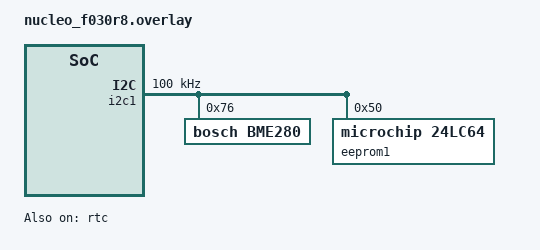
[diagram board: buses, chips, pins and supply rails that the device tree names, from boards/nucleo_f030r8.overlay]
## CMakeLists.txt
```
# SPDX-License-Identifier: Apache-2.0

cmake_minimum_required(VERSION 3.20.0)

find_package(Zephyr REQUIRED HINTS $ENV{ZEPHYR_BASE})
project(Databasesql)

target_sources(app PRIVATE
    src/Database.c
    src/BME280.c
)
```

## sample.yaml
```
sample:
  name: I2C eeprom 24LC64

tests:
  sample.sensor.tmp116:
    harness: console
    platform_allow:
      - nucleo_f030r8
    integration_platforms:
      - nucleo_f030r8
    tags: sensors
    depends_on: i2c
    harness_config:
      type: one_line
      regex:
        - "temp is (.*) oC"
      fixture: fixture_i2c_tmp116
```

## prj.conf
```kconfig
CONFIG_STDOUT_CONSOLE=y
CONFIG_I2C=y
CONFIG_SERIAL=y
CONFIG_I2C=y
CONFIG_SENSOR=y
CONFIG_I2C_EEPROM_TARGET=y
CONFIG_I2C_TARGET=y

# ENABLE I2C eeprom (zephyr,i2c-target-eeprom)
# CONFIG_I2C_TARGET=y
# CONFIG_I2C_EEPROM_TARGET=y
# CONFIG_I2C_EEPROM_TARGET_RUNTIME_ADDR=y
```

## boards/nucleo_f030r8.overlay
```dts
/*
 * Copyright (c) 2023 JSC
 */

 /** From st,stm32-i2c-v2.yaml

@see TIMING_R in user manual!!!

timings = <64000000 I2C_BITRATE_STANDARD 0x10707DBC>,
			<64000000 I2C_BITRATE_FAST 0x00603D56>,
			<56000000 I2C_BITRATE_STANDARD 0x10606DA4>,
			<56000000 I2C_BITRATE_FAST 0x00501D63>;
*/

&i2c1 {
	clock-frequency = <I2C_BITRATE_STANDARD>;
	timings = < 8000000 I2C_BITRATE_STANDARD 0x10420F13>,
	          <16000000 I2C_BITRATE_STANDARD 0x30420F13>,
	          <48000000 I2C_BITRATE_STANDARD 0xB0420F13>;
	status="okay";

   bme280@76 {
        compatible = "bosch,bme280";
        reg = <0x76>;  // I2C address of BME280
    };
	eeprom1: e24lc64@50 {
		compatible = "microchip,24lc64";
		reg = <0x50>;
		size = <8192>; // Size in bytes
		status = "okay";
	};
};

  &rtc {
        compatible = "st,stm32-rtc";
        status = "okay";
		clocks = <&clk_lse>;  
	

    };
&clk_lse{
			status = "okay";
		};
```

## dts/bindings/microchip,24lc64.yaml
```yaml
# Copyright (c) 2023 JSC
#
# SPDX-License-Identifier: Apache-2.0

description: Microchip 24lc64 I2C eeprom

include: base.yaml

compatible: "microchip,24lc64"

properties:
  size:
    type: int
    description: Total EEPROM size in bytes
    required: true
  read-only:
    type: boolean
    description: Disable writes to the EEPROM
```

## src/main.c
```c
#include <zephyr/kernel.h>
#include <zephyr/device.h>
#include <zephyr/drivers/sensor.h>
#include <zephyr/drivers/eeprom.h>
#include <zephyr/sys/printk.h>
#include <zephyr/sys/__assert.h>
#include <zephyr/devicetree.h>
#include <zephyr/drivers/eeprom.h>
#include "BME280.h"

#define NODE_EP1 DT_NODELABEL(eeprom1)
#define EEPROM_SIZE 8192 // Size of EEPROM 24LC64 in bytes

int ret;
int index = 0;
const struct device *const dev = DEVICE_DT_GET(NODE_EP1);

void write_eeprom() {
    for (uint16_t addr = 0; addr < EEPROM_SIZE; addr += sizeof(uint16_t)) {
        BME280();

        uint16_t val1 = temp_val;
        uint16_t val2 = temp_decimal;
        uint16_t val3 = press_val;
        uint16_t val4 = press_decimal;
        uint16_t val5 = hum_val;
        uint16_t val6 = hum_decimal;

        uint16_t testarr[6] = { val1, val2, val3, val4, val5, val6 };

        // Calculate index based on address in bytes
        printk("%d\n", testarr[index]);

        ret = eeprom_write(dev, addr, &testarr[index], sizeof(uint16_t));
        printk("Address: %d, Value: %d\n", addr, testarr[index]);

        if (ret) {
            printk("Failed to write eeprom at address %d (%d)\n", addr, ret);
        } else {
            printk("Success to write eeprom at address %d (%d)\n", addr, ret);
        }

        index = (index + 1) % 6;

        k_sleep(K_MSEC(6000));
    }
}

void read_eeprom() {
    uint16_t read_value;

    printk("Reading from EEPROM:\n");

    for (uint16_t addr = 0; addr < EEPROM_SIZE; addr += sizeof(uint16_t)) {
        // Read data from EEPROM
        ret = eeprom_read(dev, addr, (uint8_t*)&read_value, sizeof(uint16_t));
        if (ret) {
            printk("Failed to read from EEPROM at address %d (%d)\n", addr, ret);
            return;
        }

        printk("Success reading back eeprom at address %d  (%d)\n", addr, (uint16_t)read_value);

        k_sleep(K_MSEC(6000));
    }
}

void main(void) {
    // Call the appropriate function based on your application logic
    write_eeprom();
    //read_eeprom();
}
```

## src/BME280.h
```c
#ifndef BME280_H_
#define BME280_H_

#include <zephyr/kernel.h>
#include <zephyr/device.h>
#include <zephyr/devicetree.h>
#include <zephyr/drivers/sensor.h>

#ifdef __cplusplus
extern "C" {
#endif

void BME280();
extern int temp_val;
extern int temp_decimal;
extern int press_val;
extern int press_decimal;
extern int hum_val;
extern int hum_decimal;
#ifdef __cplusplus
}
#endif

#endif /* BME280_H_ */
```
